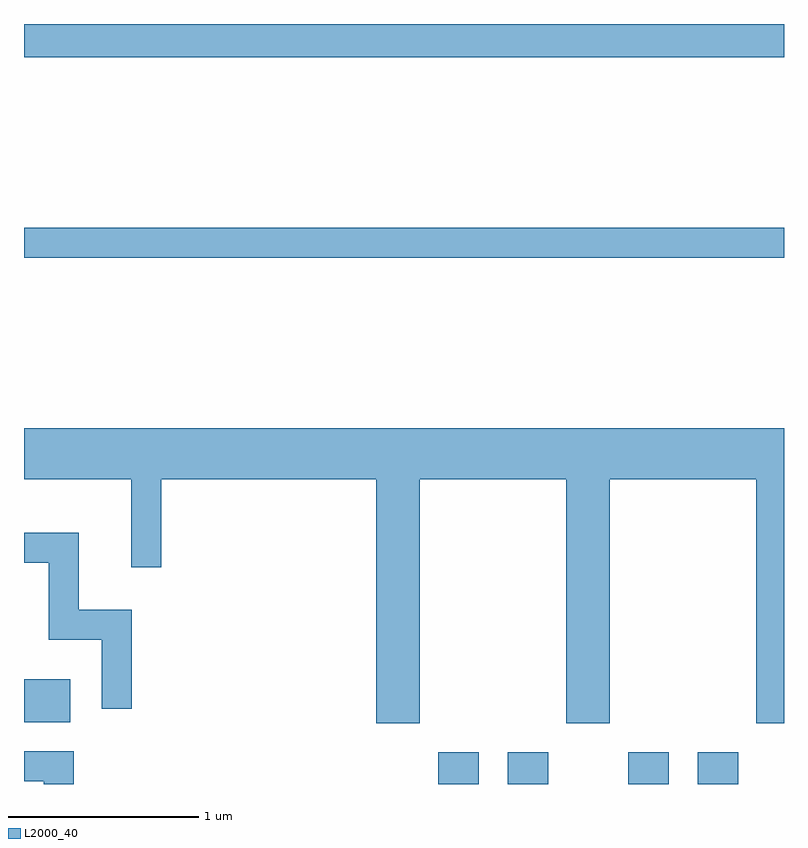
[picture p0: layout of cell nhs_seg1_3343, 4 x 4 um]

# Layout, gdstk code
import gdstk
lib = gdstk.Library(unit=1e-6, precision=1e-09)
def R(c, l, rs):  # rectangles x0, y0, x1, y1
    for r in rs: c.add(gdstk.rectangle(r[:2], r[2:], *l))
def P(c, l, *ps):  # polygons
    for p in ps: c.add(gdstk.Polygon(p, *l))
L2000_40 = (2000, 40)

nhs_seg1_3343 = lib.new_cell('nhs_seg1_3343')
R(nhs_seg1_3343, L2000_40, [(287.791,935.712,288.004,935.879), (288.156,935.712,288.369,935.879), (288.791,935.712,289.004,935.879), (289.156,935.712,289.369,935.879), (285.611,936.036,285.854,936.264), (285.611,938.481,289.611,938.639), (285.611,939.536,289.611,939.712)])
P(nhs_seg1_3343, L2000_40, [(285.611,937.316),(286.176,937.316),(286.176,936.853),(286.334,936.853),(286.334,937.316),(287.466,937.316),(287.466,936.031),(287.694,936.031),(287.694,937.316),(288.466,937.316),(288.466,936.031),(288.694,936.031),(288.694,937.316),(289.466,937.316),(289.466,936.031),(289.611,936.031),(289.611,937.584),(285.611,937.584)],
  [(286.179,936.629),(285.899,936.629),(285.899,937.034),(285.611,937.034),(285.611,936.876),(285.741,936.876),(285.741,936.471),(286.021,936.471),(286.021,936.108),(286.179,936.108)],
  [(285.874,935.884),(285.611,935.884),(285.611,935.726),(285.716,935.726),(285.716,935.712),(285.874,935.712)])

lib.write_gds('nhs_seg1_3343.gds')
